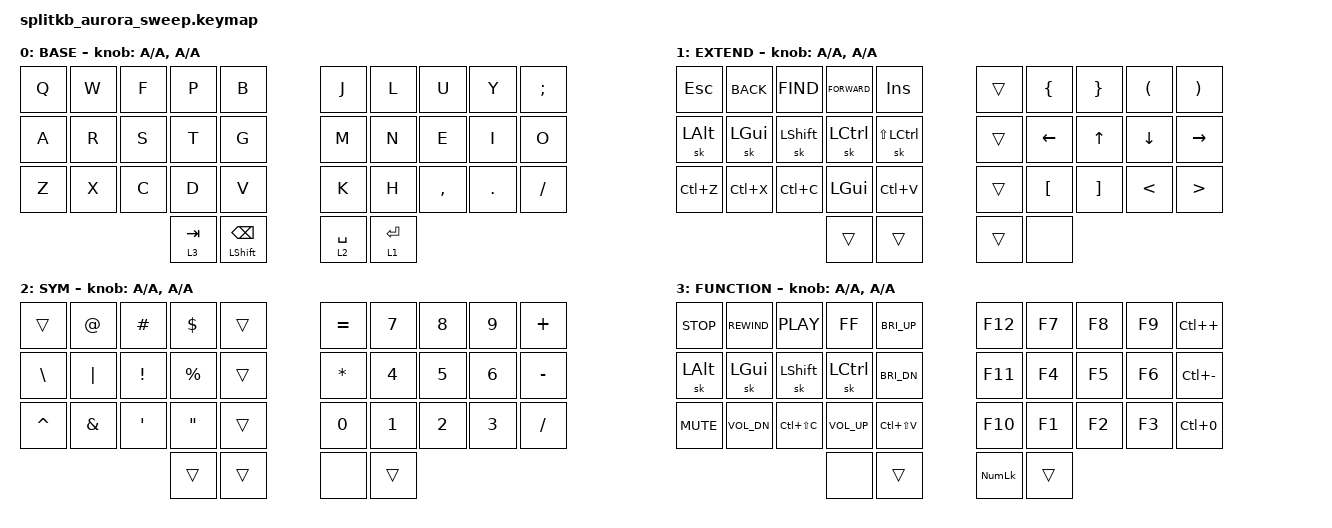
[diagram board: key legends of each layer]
/*
 * Copyright (c) 2022 The ZMK Contributors
 *
 * SPDX-License-Identifier: MIT
 */

#include <behaviors.dtsi>
#include <dt-bindings/zmk/keys.h>

&mt {
    flavor = "tap-preferred";
    tapping_term_ms = <200>;
};

/ {
    behaviors {
        hm: homerow_mods {
            compatible = "zmk,behavior-hold-tap";
            label = "HOMEROW_MODS";
            #binding-cells = <2>;
            tapping-term-ms = <180>;
            quick-tap-ms = <0>;
            flavor = "tap-preferred";
            bindings =
                <&kp>,
                <&kp>;
        };
    };

    combos {
        compatible = "zmk,combos";

        combo_esc {
            timeout-ms = <50>;
            key-positions = <0 9>;
            bindings = <&kp ESC>;
        };

        combo_caps {
            bindings = <&caps_word>;
            key-positions = <10 19>;
        };

        combo_minus {
            bindings = <&kp MINUS>;
            key-positions = <3 6>;
        };

        combo_under {
            bindings = <&kp UNDER>;
            key-positions = <13 16>;
        };
    };

    keymap {
        compatible = "zmk,keymap";

        BASE {
            bindings = <
&kp Q  &kp W  &kp F      &kp P                     &kp B        &kp J        &kp L      &kp U    &kp Y   &kp SEMI
&kp A  &kp R  &kp S      &kp T                     &kp G        &kp M        &kp N      &kp E    &kp I      &kp O
&kp Z  &kp X  &kp C      &kp D                     &kp V        &kp K        &kp H  &kp COMMA  &kp DOT  &kp SLASH
                     &lt 3 TAB  &mt LEFT_SHIFT BACKSPACE  &lt 2 SPACE  &lt 1 ENTER
            >;

            sensor-bindings = <&inc_dec_kp A A &inc_dec_kp A A>;
        };

        EXTEND {
            bindings = <
     &kp ESC  &kp K_BACK  &kp K_FIND  &kp K_FORWARD        &kp INS  &trans    &kp LEFT_BRACE    &kp RIGHT_BRACE  &kp LEFT_PARENTHESIS  &kp RIGHT_PARENTHESIS
&sk LEFT_ALT    &sk LGUI  &sk LSHIFT      &sk LCTRL  &sk LS(LCTRL)  &trans          &kp LEFT             &kp UP              &kp DOWN              &kp RIGHT
   &kp LC(Z)   &kp LC(X)   &kp LC(C)   &kp LEFT_GUI      &kp LC(V)  &trans  &kp LEFT_BRACKET  &kp RIGHT_BRACKET         &kp LESS_THAN       &kp GREATER_THAN
                                             &trans         &trans  &trans             &none
            >;

            sensor-bindings = <&inc_dec_kp A A &inc_dec_kp A A>;
        };

        SYM {
            bindings = <
   &trans    &kp AT          &kp HASH         &kp DOLLAR  &trans  &kp EQUAL  &kp N7  &kp N8  &kp N9   &kp PLUS
 &kp BSLH  &kp PIPE          &kp EXCL        &kp PERCENT  &trans  &kp ASTRK  &kp N4  &kp N5  &kp N6  &kp MINUS
&kp CARET  &kp AMPS  &kp SINGLE_QUOTE  &kp DOUBLE_QUOTES  &trans     &kp N0  &kp N1  &kp N2  &kp N3  &kp SLASH
                                                  &trans  &trans      &none  &trans
            >;

            sensor-bindings = <&inc_dec_kp A A &inc_dec_kp A A>;
        };

        FUNCTION {
            bindings = <
  &kp K_STOP  &kp C_REWIND     &kp C_PLAY      &kp C_FF   &kp C_BRI_UP     &kp F12  &kp F7  &kp F8  &kp F9   &kp LC(PLUS)
&sk LEFT_ALT      &sk LGUI      &sk LSHFT     &sk LCTRL   &kp C_BRI_DN     &kp F11  &kp F4  &kp F5  &kp F6  &kp LC(MINUS)
  &kp K_MUTE  &kp K_VOL_DN  &kp LC(LS(C))  &kp K_VOL_UP  &kp LC(LS(V))     &kp F10  &kp F1  &kp F2  &kp F3     &kp LC(N0)
                                                  &none         &trans  &kp KP_NUM  &trans
            >;

            sensor-bindings = <&inc_dec_kp A A &inc_dec_kp A A>;
        };
    };
};
